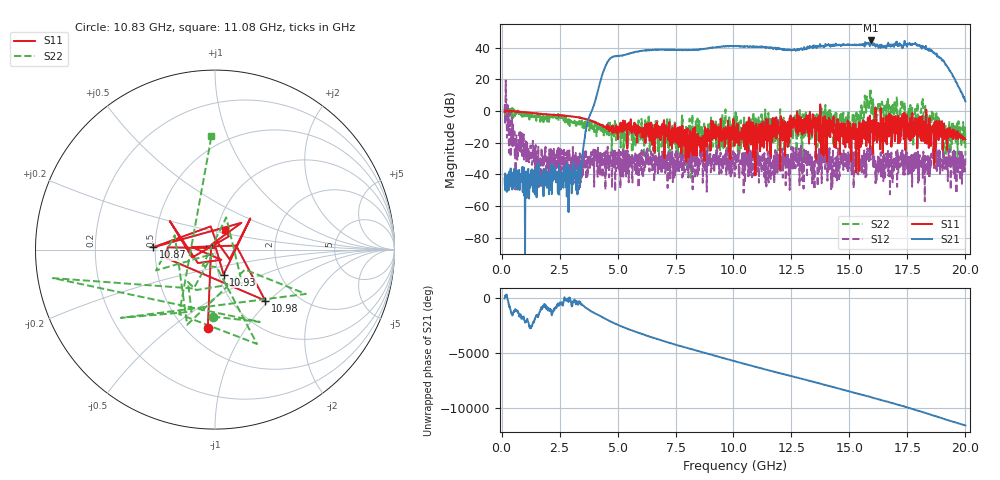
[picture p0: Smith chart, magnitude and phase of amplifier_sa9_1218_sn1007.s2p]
!Created with skrf (http://scikit-rf.org).
# GHz S RI R 50.0
!freq ReS11 ImS11 ReS21 ImS21 ReS12 ImS12 ReS22 ImS22
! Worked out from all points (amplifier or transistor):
!   1601 points, 130 MHz to 20 GHz, reference 50 ohm
!   highest |S21| = 44.6 dB at 15.91 GHz (marker M1)
!   |S21| within 3 dB of that: 14.7 GHz to 15.17 GHz (467.7 MHz wide, 3.13 % of centre)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
!   unconditionally stable (mu >= 1): 719.1 MHz to 4.326 GHz; 19.32 GHz to 19.45 GHz; 19.46 GHz to end of sweep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
!   at 3.433 GHz: K = 611.61, MAG = -30.9 dB, |S12| = -33.3 dB
!   at 10.06 GHz: K = 2.98, MSG = 33.3 dB, |S12| = -25.7 dB
!   at 20 GHz: K = 5.78, MAG = 6.2 dB, |S12| = -27.5 dB
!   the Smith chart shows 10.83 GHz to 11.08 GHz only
!   S11 on the Smith chart (normalised r, x): 10.83 GHz: 0.63, -0.69; 10.87 GHz: 0.49, +0.01; 10.93 GHz: 1.06, -0.30; 10.98 GHz: 1.40, -0.95; 11.08 GHz: 1.09, +0.24
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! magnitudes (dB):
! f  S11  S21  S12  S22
! 130 MHz  -0.7  -42.7  -0.2  1.3
! 626.8 MHz  -0.6  -48.1  -29.6  -2.0
! 1.595 GHz  -1.8  -40.7  -48.8  -3.9
! 3.284 GHz  -4.1  -34.6  -32.2  -6.5
! 3.446 GHz  -4.4  -34.6  -30.3  -5.9
! 3.719 GHz  -5.5  -6.3  -29.8  -9.3
! 4.601 GHz  -11.6  31.5  -36.3  -12.4
! 6.762 GHz  -13.4  38.6  -29.7  -20.0
! 8.649 GHz  -19.1  39.1  -32.0  -9.6
! 10.06 GHz  -18.5  40.9  -25.7  -9.6
! 10.83 GHz  -7.2  40.6  -29.9  -8.6
! 10.87 GHz  -9.2  40.5  -39.0  -12.1
! 10.93 GHz  -16.7  40.6  -29.8  -13.9
! 10.98 GHz  -8.0  40.6  -37.6  -12.6
! 11.08 GHz  -18.3  40.6  -32.7  -4.0
! 13.38 GHz  -15.8  40.3  -33.3  -12.8
! 15.08 GHz  -31.7  41.8  -36.3  -14.1
! 15.91 GHz  -6.8  44.6  -30.9  13.0
! 16.13 GHz  2.2  40.6  -45.7  2.1
! 16.7 GHz  -16.1  41.0  -29.7  2.7
! 18.66 GHz  -33.9  36.7  -30.0  -14.8
! 20 GHz  -17.9  6.2  -27.5  -27.5
